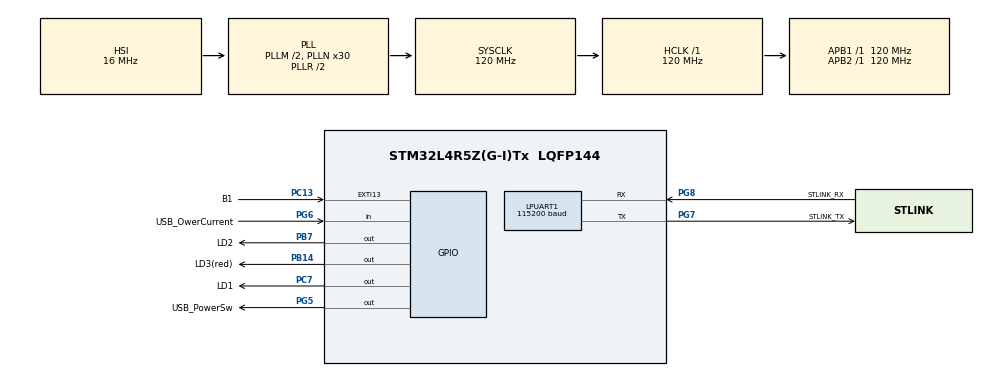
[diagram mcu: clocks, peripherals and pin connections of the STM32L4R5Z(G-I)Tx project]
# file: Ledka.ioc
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LPUART1.BaudRate=115200
LPUART1.WordLength=UART_WORDLENGTH_8B
Mcu.Family=STM32L4
Mcu.Name=STM32L4R5Z(G-I)Tx
Mcu.Package=LQFP144
NVIC.PriorityGroup=NVIC_PRIORITYGROUP_4
PA10.GPIO_Label=USB_ID
PA10.Signal=USB_OTG_FS_ID
PA11.GPIO_Label=USB_DM
PA11.Signal=USB_OTG_FS_DM
PA12.GPIO_Label=USB_DP
PA12.Signal=USB_OTG_FS_DP
PA13\ (JTMS/SWDIO).GPIO_Label=TMS
PA13\ (JTMS/SWDIO).Mode=Serial_Wire
PA13\ (JTMS/SWDIO).Signal=SYS_JTMS-SWDIO
PA14\ (JTCK/SWCLK).GPIO_Label=TCK
PA14\ (JTCK/SWCLK).Mode=Serial_Wire
PA14\ (JTCK/SWCLK).Signal=SYS_JTCK-SWCLK
PA8.GPIO_Label=USB_SOF
PA8.Signal=USB_OTG_FS_SOF
PA9.GPIO_Label=USB_VBUS
PA9.Signal=USB_OTG_FS_VBUS
PB14.GPIO_Label=LD3(red)
PB14.Signal=GPIO_Output
PB3\ (JTDO/TRACESWO).Signal=SYS_JTDO-SWO
PB7.GPIO_Label=LD2
PB7.Signal=GPIO_Output
PC13.GPIO_Label=B1
PC13.Signal=GPXTI13
PC14-OSC32_IN\ (PC14).Mode=LSE-External-Oscillator
PC14-OSC32_IN\ (PC14).Signal=RCC_OSC32_IN
PC15-OSC32_OUT\ (PC15).Mode=LSE-External-Oscillator
PC15-OSC32_OUT\ (PC15).Signal=RCC_OSC32_OUT
PC7.GPIO_Label=LD1
PC7.Signal=GPIO_Output
PD8.GPIO_Label=STLK_RX
PD8.Signal=USART3_TX
PD9.GPIO_Label=STLK_TX
PD9.Signal=USART3_RX
PG5.GPIO_Label=USB_PowerSw
PG5.Signal=GPIO_Output
PG6.GPIO_Label=USB_OwerCurrent
PG6.Signal=GPIO_Input
PG7.GPIO_Label=STLINK_TX
PG7.Mode=Asynchronous
PG7.Signal=LPUART1_TX
PG8.GPIO_Label=STLINK_RX
PG8.Mode=Asynchronous
PG8.Signal=LPUART1_RX
PH1-OSC_OUT\ (PH1).Signal=RCC_OSC_OUT
ProjectManager.HeapSize=0x200
ProjectManager.StackSize=0x400
ProjectManager.TargetToolchain=STM32CubeIDE
RCC.ADCFreq_Value=96000000
RCC.AHBFreq_Value=120000000
RCC.APB1Freq_Value=120000000
RCC.APB1TimFreq_Value=120000000
RCC.APB2Freq_Value=120000000
RCC.APB2TimFreq_Value=120000000
RCC.CortexFreq_Value=120000000
RCC.HCLKFreq_Value=120000000
RCC.HSE_VALUE=8000000
RCC.HSI48_VALUE=48000000
RCC.HSI_VALUE=16000000
RCC.MSI_VALUE=4000000
RCC.PLLM1=2
RCC.PLLN=30
RCC.PLLSAI1N=12
RCC.PLLSourceVirtual=RCC_PLLSOURCE_HSI
RCC.SYSCLKFreq_VALUE=120000000
RCC.SYSCLKSource=RCC_SYSCLKSOURCE_PLLCLK
RCC.USBFreq_Value=96000000
RCC.VCOOutputFreq_Value=240000000
board=custom

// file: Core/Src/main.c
/* USER CODE BEGIN Header */
/**
  ******************************************************************************
  * @file           : main.c
  * @brief          : Main program body
  ******************************************************************************
  * @attention
  *
  * Copyright (c) 2022 STMicroelectronics.
  * All rights reserved.
  *
  * This software is licensed under terms that can be found in the LICENSE file
  * in the root directory of this software component.
  * If no LICENSE file comes with this software, it is provided AS-IS.
  *
  ******************************************************************************
  */
/* USER CODE END Header */
#include "main.h"
#include "usart.h"
#include "gpio.h"

/* USER CODE BEGIN Includes */
#include "stdbool.h"
#include "string.h"
#include "stdio.h"
#include <pthread.h>
#include <stdlib.h>
#include <string.h>
#include <stdio.h>
/* USER CODE END Includes */

bool previousState;
bool currentState;
char buff[64];
struct Led{
	bool state;
	uint32_t timeIn;
	uint32_t timeOut;
	uint32_t timer;
	int stt;
	GPIO_TypeDef * port;
	uint16_t pin;
};
struct Led led1={
		.state=false,
		.timeIn =460,
		.timeOut =230,
		.timer =0,
		.stt=0,
		.port=LD1_GPIO_Port,
		.pin=LD1_Pin
};
struct Led led2={
		.state=false,
		.timeIn =400,
		.timeOut =600,
		.timer =0,
		.stt=0,
		.port=LD2_GPIO_Port,
		.pin=LD2_Pin
};
struct Led led3={
		.state=false,
		.timeIn =100,
		.timeOut =300,
		.timer =0,
		.stt=0,
		.port=LD3_GPIO_Port,
		.pin=LD3_Pin
};

void SystemClock_Config(void);

int main(void)
{

  /* MCU Configuration--------------------------------------------------------*/

  /* Reset of all peripherals, Initializes the Flash interface and the Systick. */
  HAL_Init();

  /* Configure the system clock */
  SystemClock_Config();

  /* Initialize all configured peripherals */
  MX_GPIO_Init();
  MX_LPUART1_UART_Init();
  int state=0;
  uint8_t Rx_data[10];

  /* Infinite loop */
  while (1)
  {

    /* USER CODE BEGIN 3 */
	  previousState= currentState;
	  currentState = HAL_GPIO_ReadPin(B1_GPIO_Port,B1_Pin);
	  long crnt_tick=0;
	  switch(state){
		  case 0:
			  if(currentState==1 && previousState==0){
				  state=1;
				  HAL_GPIO_TogglePin(LD1_GPIO_Port,LD1_Pin);
				  HAL_UART_Transmit(&hlpuart1,"Zmena stavu LED1.\r\n", 20, 100);
				  led1.state=false;
			  }
			  break;
		  case 1:
			  if(currentState==0 && previousState==1){
				  crnt_tick=HAL_GetTickPrio();
				  HAL_Delay(4);
				  state=0;
			  }
			  break;
		  case 2:
			  if(crnt_tick+4<=HAL_GetTickPrio())
				  state=0;
			  break;
	  }
	  char word[1];
	  HAL_StatusTypeDef res = HAL_UART_Receive(&hlpuart1, word, 1, 0);

	  if (res == HAL_OK)
	  {
		  if(word[0]=='\n' || word[0]=='\r'){
			  ChangeLedState(buff);
			  memset(&buff, 0, sizeof(buff));
		  }else{
			HAL_UART_Transmit(&hlpuart1, word, 1, 100);
			strncat(buff, word, 1);
		  }
	  }

	  blink(&led1);
	  blink(&led2);
	  blink(&led3);
  }
  /* USER CODE END 3 */
}

void ChangeLedState(char * str){
	HAL_UART_Transmit(&hlpuart1,"\n", 1, 100);
	if(str[0]!='L' && str[1]!='D')return;
	switch(str[2]){
		case '1':
			SetPinState(&led1,str);
			break;
		case '2':
			SetPinState(&led2,str);
			break;
		case '3':
			SetPinState(&led3,str);
			break;
		default:
			HAL_UART_Transmit(&hlpuart1, "Chyba",5, 100);
			HAL_UART_Transmit(&hlpuart1,"\r\n", 2, 100);
			break;
	}
}

/*
 * Příkazy na ovládání
 * LDx=1 - zapnutí LED
 * LDx=0 - vypnutí LED
 * LDx=! - negace stavu LED
 * LDx B - zapnutí/vypnutí s nastavenými časovači od posledně
 * LDx B xxx - nastavení časovače in a out na čas xxx a změna stavu blikání
 * LDx B xxx yyy - nastavení časovače in na xxx a out na yyy a změna stavu blikání
 * */
void SetPinState(struct Led* ledka, char* str){
	switch(str[4]){
		case '0':
			HAL_GPIO_WritePin(ledka->port, ledka->pin, GPIO_PIN_RESET);
			ledka->state=false;
			break;
		case '1':
			HAL_GPIO_WritePin(ledka->port, ledka->pin, GPIO_PIN_SET);
			ledka->state=false;
			break;
		case '!':
			HAL_GPIO_TogglePin(ledka->port,ledka->pin);
			ledka->state=false;
			break;
		case 'B':
			ledka->state=!ledka->state;
			ledka->stt=0;
			ledka->timer=HAL_GetTick();

			char in[8];
			char out[8];
			char out1[8];

			int cnt=0;
			char * pch;
			pch = strtok (str," ");
			while (pch != NULL)
			{
				pch = strtok (NULL, " ");
				if(cnt==1)
					strcat(in, pch);
				if(cnt==2)
					strcat(out1,pch);
				cnt++;
			}
			memcpy(out, &out1[1], strlen(out1));//Protoze to tam pridava dva random znaky na zacatek. treba RN150. Tímto je odstranim

			if(cnt==3){
				ledka->timeIn=atoi(in);
				ledka->timeOut=atoi(in);
			}
			if(cnt==4){
				ledka->timeIn=atoi(in);
				ledka->timeOut=atoi(out);
			}
		    HAL_UART_Transmit(&hlpuart1,"IN ", 3, 100);
		    char snum[5];
		    itoa(ledka->timeIn,snum,10);
			HAL_UART_Transmit(&hlpuart1,snum, strlen(snum), 100);
			HAL_UART_Transmit(&hlpuart1,"\n", 1, 100);
			HAL_UART_Transmit(&hlpuart1,"OUT ", 4, 100);
			char anum[5];
			itoa(ledka->timeOut,anum,10);
			HAL_UART_Transmit(&hlpuart1,anum, strlen(anum), 100);
			HAL_UART_Transmit(&hlpuart1,"\n", 1, 100);
			break;
		}
}

void blink(struct Led* ledka){
	if(!ledka->state)return;
	switch(ledka->stt){
	case 0:
		if(ledka->timer+ledka->timeIn<=HAL_GetTick()){
			HAL_GPIO_WritePin(ledka->port,ledka->pin, GPIO_PIN_RESET);
			ledka->timer=HAL_GetTick();
			ledka->stt=1;
		}
		break;
	case 1:
		if(ledka->timer+ ledka->timeOut<=HAL_GetTick()){
			HAL_GPIO_WritePin(ledka->port,ledka->pin, GPIO_PIN_SET);
			ledka->timer=HAL_GetTick();
			ledka->stt=0;
		}
		break;
	}
}
void SystemClock_Config(void)
{
  RCC_OscInitTypeDef RCC_OscInitStruct = {0};
  RCC_ClkInitTypeDef RCC_ClkInitStruct = {0};

  /** Configure the main internal regulator output voltage
  */
  if (HAL_PWREx_ControlVoltageScaling(PWR_REGULATOR_VOLTAGE_SCALE1_BOOST) != HAL_OK)
  {
    Error_Handler();
  }
  /** Initializes the RCC Oscillators according to the specified parameters
  * in the RCC_OscInitTypeDef structure.
  */
  RCC_OscInitStruct.OscillatorType = RCC_OSCILLATORTYPE_HSI;
  RCC_OscInitStruct.HSIState = RCC_HSI_ON;
  RCC_OscInitStruct.HSICalibrationValue = RCC_HSICALIBRATION_DEFAULT;
  RCC_OscInitStruct.PLL.PLLState = RCC_PLL_ON;
  RCC_OscInitStruct.PLL.PLLSource = RCC_PLLSOURCE_HSI;
  RCC_OscInitStruct.PLL.PLLM = 2;
  RCC_OscInitStruct.PLL.PLLN = 30;
  RCC_OscInitStruct.PLL.PLLP = RCC_PLLP_DIV2;
  RCC_OscInitStruct.PLL.PLLQ = RCC_PLLQ_DIV2;
  RCC_OscInitStruct.PLL.PLLR = RCC_PLLR_DIV2;
  if (HAL_RCC_OscConfig(&RCC_OscInitStruct) != HAL_OK)
  {
    Error_Handler();
  }
  /** Initializes the CPU, AHB and APB buses clocks
  */
  RCC_ClkInitStruct.ClockType = RCC_CLOCKTYPE_HCLK|RCC_CLOCKTYPE_SYSCLK
                              |RCC_CLOCKTYPE_PCLK1|RCC_CLOCKTYPE_PCLK2;
  RCC_ClkInitStruct.SYSCLKSource = RCC_SYSCLKSOURCE_PLLCLK;
  RCC_ClkInitStruct.AHBCLKDivider = RCC_SYSCLK_DIV1;
  RCC_ClkInitStruct.APB1CLKDivider = RCC_HCLK_DIV1;
  RCC_ClkInitStruct.APB2CLKDivider = RCC_HCLK_DIV1;

  if (HAL_RCC_ClockConfig(&RCC_ClkInitStruct, FLASH_LATENCY_5) != HAL_OK)
  {
    Error_Handler();
  }
}

void Error_Handler(void)
{
  __disable_irq();
  while (1)
  {
  }
}
